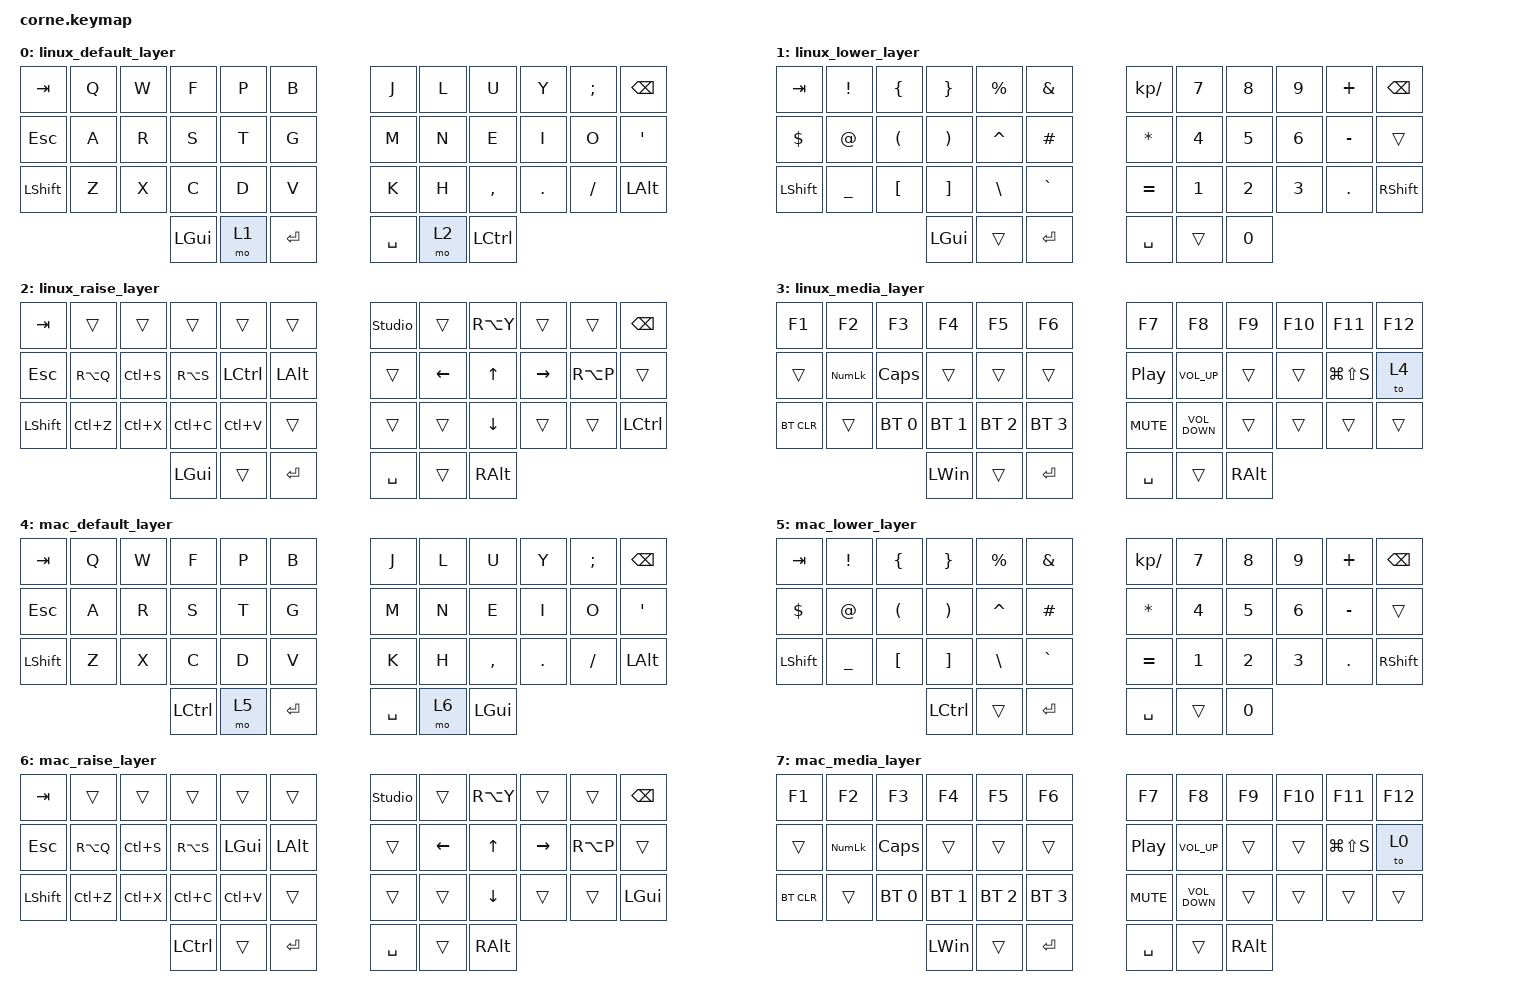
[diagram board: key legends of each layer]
/*
 * Copyright (c) 2020 The ZMK Contributors
 *
 * SPDX-License-Identifier: MIT
 */

#include <behaviors.dtsi>
#include <dt-bindings/zmk/bt.h>
#include <dt-bindings/zmk/keys.h>

/ {
    keymap {
        compatible = "zmk,keymap";

        // ==================== LINUX MODE (layers 0-3) ====================

        linux_default_layer {
            bindings = <
&kp TAB    &kp Q  &kp W  &kp F     &kp P  &kp B        &kp J      &kp L  &kp U             &kp Y    &kp SEMI  &kp BSPC
&kp ESC    &kp A  &kp R  &kp S     &kp T  &kp G        &kp M      &kp N  &kp E             &kp I    &kp O     &kp SQT
&kp LSHFT  &kp Z  &kp X  &kp C     &kp D  &kp V        &kp K      &kp H  &kp COMMA         &kp DOT  &kp FSLH  &kp LEFT_ALT
                         &kp LGUI  &mo 1  &kp ENTER    &kp SPACE  &mo 2  &kp LEFT_CONTROL
            >;
        };

        linux_lower_layer {
            bindings = <
&kp TAB     &kp EXCL   &kp LBRC  &kp RBRC  &kp PRCNT  &kp AMPS     &kp KP_DIVIDE  &kp N7  &kp N8        &kp N9  &kp PLUS   &kp BSPC
&kp DLLR    &kp AT     &kp LPAR  &kp RPAR  &kp CARET  &kp HASH     &kp STAR       &kp N4  &kp N5        &kp N6  &kp MINUS  &trans
&kp LSHIFT  &kp UNDER  &kp LBKT  &kp RBKT  &kp BSLH   &kp GRAVE    &kp EQUAL      &kp N1  &kp N2        &kp N3  &kp DOT    &kp RSHIFT
                                 &kp LGUI  &trans     &kp ENTER    &kp SPACE      &trans  &kp NUMBER_0
            >;
        };

        linux_raise_layer {
            bindings = <
&kp TAB     &trans     &trans     &trans     &trans            &trans          &studio_unlock  &trans    &kp RA(Y)  &trans     &trans     &kp BSPC
&kp ESCAPE  &kp RA(Q)  &kp LC(S)  &kp RA(S)  &kp LEFT_CONTROL  &kp LEFT_ALT    &trans          &kp LEFT  &kp UP     &kp RIGHT  &kp RA(P)  &trans
&kp LSHFT   &kp LC(Z)  &kp LC(X)  &kp LC(C)  &kp LC(V)         &trans          &trans          &trans    &kp DOWN   &trans     &trans     &kp LEFT_CONTROL
                                  &kp LGUI   &trans            &kp ENTER       &kp SPACE       &trans    &kp RALT
            >;
        };

        linux_media_layer {
            bindings = <
&kp F1      &kp F2          &kp F3        &kp F4        &kp F5        &kp F6          &kp F7            &kp F8             &kp F9    &kp F10  &kp F11        &kp F12
&trans      &kp KP_NUMLOCK  &kp CAPS      &trans        &trans        &trans          &kp C_PLAY_PAUSE  &kp C_VOLUME_UP    &trans    &trans   &kp LG(LS(S))  &to 4
&bt BT_CLR  &trans          &bt BT_SEL 0  &bt BT_SEL 1  &bt BT_SEL 2  &bt BT_SEL 3    &kp C_MUTE        &kp C_VOLUME_DOWN  &trans    &trans   &trans         &trans
                                          &kp LEFT_WIN  &trans        &kp ENTER       &kp SPACE         &trans             &kp RALT
            >;
        };

        // ==================== MAC MODE (layers 4-7) ====================
        // Swapped LEFT_CONTROL <-> LGUI, RIGHT_CONTROL <-> RGUI (where present)

        mac_default_layer {
            bindings = <
&kp TAB    &kp Q  &kp W  &kp F             &kp P  &kp B        &kp J      &kp L  &kp U      &kp Y    &kp SEMI  &kp BSPC
&kp ESC    &kp A  &kp R  &kp S             &kp T  &kp G        &kp M      &kp N  &kp E      &kp I    &kp O     &kp SQT
&kp LSHFT  &kp Z  &kp X  &kp C             &kp D  &kp V        &kp K      &kp H  &kp COMMA  &kp DOT  &kp FSLH  &kp LEFT_ALT
                         &kp LEFT_CONTROL  &mo 5  &kp ENTER    &kp SPACE  &mo 6  &kp LGUI
            >;
        };

        mac_lower_layer {
            bindings = <
&kp TAB     &kp EXCL   &kp LBRC  &kp RBRC          &kp PRCNT  &kp AMPS     &kp KP_DIVIDE  &kp N7  &kp N8        &kp N9  &kp PLUS   &kp BSPC
&kp DLLR    &kp AT     &kp LPAR  &kp RPAR          &kp CARET  &kp HASH     &kp STAR       &kp N4  &kp N5        &kp N6  &kp MINUS  &trans
&kp LSHIFT  &kp UNDER  &kp LBKT  &kp RBKT          &kp BSLH   &kp GRAVE    &kp EQUAL      &kp N1  &kp N2        &kp N3  &kp DOT    &kp RSHIFT
                                 &kp LEFT_CONTROL  &trans     &kp ENTER    &kp SPACE      &trans  &kp NUMBER_0
            >;
        };

        mac_raise_layer {
            bindings = <
&kp TAB     &trans     &trans     &trans            &trans     &trans          &studio_unlock  &trans    &kp RA(Y)  &trans     &trans     &kp BSPC
&kp ESCAPE  &kp RA(Q)  &kp LC(S)  &kp RA(S)         &kp LGUI   &kp LEFT_ALT    &trans          &kp LEFT  &kp UP     &kp RIGHT  &kp RA(P)  &trans
&kp LSHFT   &kp LC(Z)  &kp LC(X)  &kp LC(C)         &kp LC(V)  &trans          &trans          &trans    &kp DOWN   &trans     &trans     &kp LGUI
                                  &kp LEFT_CONTROL  &trans     &kp ENTER       &kp SPACE       &trans    &kp RALT
            >;
        };

        mac_media_layer {
            bindings = <
&kp F1      &kp F2          &kp F3        &kp F4        &kp F5        &kp F6          &kp F7            &kp F8             &kp F9         &kp F10  &kp F11        &kp F12
&trans      &kp KP_NUMLOCK  &kp CAPS      &trans        &trans        &trans          &kp C_PLAY_PAUSE  &kp C_VOLUME_UP    &trans         &trans   &kp LG(LS(S))  &to 0
&bt BT_CLR  &trans          &bt BT_SEL 0  &bt BT_SEL 1  &bt BT_SEL 2  &bt BT_SEL 3    &kp C_MUTE        &kp C_VOLUME_DOWN  &trans         &trans   &trans         &trans
                                          &kp LEFT_WIN  &trans        &kp ENTER       &kp SPACE         &trans             &kp RIGHT_ALT
            >;
        };
    };

    conditional_layers {
        compatible = "zmk,conditional-layers";

        cond_media_linux {
            if-layers = <1 2>;
            then-layer = <3>;
        };

        cond_media_mac {
            if-layers = <5 6>;
            then-layer = <7>;
        };
    };
};
